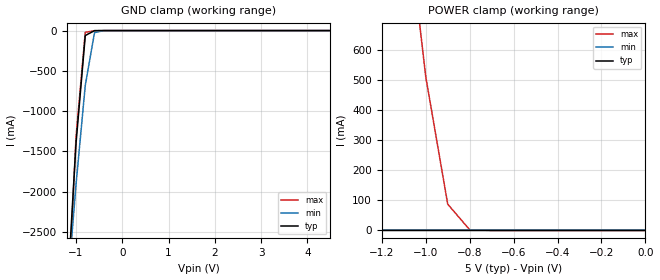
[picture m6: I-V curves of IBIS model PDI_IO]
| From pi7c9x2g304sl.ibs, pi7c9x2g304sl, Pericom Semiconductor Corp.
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|   Model PDI_IO
[Model]   PDI_IO
Model_type   Input
Polarity   Non-Inverting
Vinl =   0.80V
Vinh =   2.00V
C_comp   5.00pF   5.00pF   5.00pF
[Temperature Range]   25.00   0.12k   0.000
[Pullup Reference]   3.30V   3.00V   3.60V
[Pulldown Reference]   0.000V   0.000V   0.000V
[POWER Clamp Reference]   5.00V   4.50V   5.50V
[GND Clamp Reference]   0.000V   0.000V   0.000V
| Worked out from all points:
|   GND clamp passes 1 mA (typ) near -0.60 V on its own axis
|   POWER clamp passes 1 mA (typ) near -1.31 V on its own axis
[GND_clamp]
| voltage   I(typ)   I(min)   I(max)
-5V       -44.03A    -32.02A    -53.7A
-1.2V     -3.38A     -3.33A     -3.73A
-1V       -1.4A      -1.91A     -1.32A
-800mV    -61.5mA    -680mA     -21.81mA
-600mV    -860uA     -24.57mA   -1.54mA
-400mV    -6.99uA    -160uA     -13.84uA
5V        5.41nA     8.63nA     5.24nA
[POWER_clamp]
| voltage   I(typ)   I(min)   I(max)
-5V       13.15A     9.93uA     29.77A
-1.7V     880mA      31.77nA    5.49A
-1.6V     510mA      14.23nA    4.75A
-1.5V     140mA      13.02nA    4.01A
-1.4V     7.68mA     12.79nA    3.28A
-1.3V     180uA      12.61nA    2.54A
-1.1V     95.66nA    12.28nA    1.14A
-1V       8.35nA     12.13nA    510mA
-900mV    6.31nA     11.98nA    87.31mA
-800mV    6.15nA     11.83nA    2.31mA
0V        5.28nA     10.76nA    5.79nA
